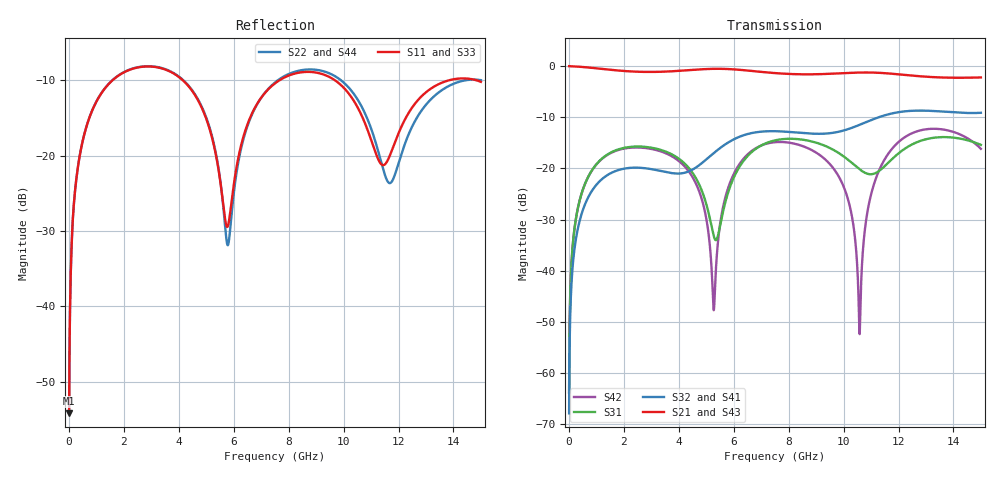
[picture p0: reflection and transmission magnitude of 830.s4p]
! Created with skrf 1.8.0 (http://scikit-rf.org).
# GHz S RI R 50.0
!freq ReS11 ImS11 ReS12 ImS12 ReS13 ImS13
! ReS14 ImS14
! ReS21 ImS21 ReS22 ImS22 ReS23 ImS23
! ReS24 ImS24
! ReS31 ImS31 ReS32 ImS32 ReS33 ImS33
! ReS34 ImS34
! ReS41 ImS41 ReS42 ImS42 ReS43 ImS43
! ReS44 ImS44
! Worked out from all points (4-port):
!   2499 points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, 5 MHz to 15 GHz, reference 50 ohm
!   strongest paths, dB at 5 MHz, 3.476 GHz, 7.19 GHz, 11.1 GHz, 15 GHz:
!     S21: 0.0, -1.1, -1.2, -1.3, -2.2
!     S43: 0.0, -1.1, -1.2, -1.3, -2.2
!     S32: -67.9, -20.7, -12.7, -10.4, -9.1
!     S41: -67.9, -20.8, -12.8, -10.3, -9.2
!     S31: -63.8, -16.6, -15.0, -21.0, -15.4
!     S42: -63.8, -16.9, -15.2, -23.2, -16.2
!   lowest |S11| = -54.2 dB at 5 MHz (marker M1), VSWR 1.00, Z = 50.2 + j0.118 ohm
!   |S11| at or under -10 dB: start of sweep to 1.587 GHz; 4.143 GHz to 7.667 GHz (3.524 GHz wide, 59.7 % of centre); 9.682 GHz to 13.85 GHz (4.166 GHz wide, 35.4 % of centre) (the widest 3 of 4)
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0.005  0.00155 0.00118  0.9984 -0.00303  7.87e-05 0.00064  -7.63e-05 -0.000398
       0.9984 -0.00303  0.00155 0.00118  -7.63e-05 -0.000398  7.86e-05 0.00064
       7.87e-05 0.00064  -7.63e-05 -0.000398  0.00155 0.00118  0.9984 -0.00303
       -7.63e-05 -0.000398  7.86e-05 0.00064  0.9984 -0.00303  0.00155 0.00118
1.519383  0.2462 0.1851  0.5969 -0.6997  0.1261 0.0671  -0.0886 -0.0142
          0.5969 -0.6997  0.2477 0.1843  -0.0888 -0.014  0.1208 0.0734
          0.1261 0.0671  -0.0888 -0.014  0.2461 0.1852  0.5968 -0.6998
          -0.0886 -0.0142  0.1208 0.0734  0.5968 -0.6998  0.2478 0.1842
5.270946  0.0605 -0.1015  -0.88 -0.3316  -0.019 -0.0109  -0.0473 0.133
          -0.88 -0.3316  0.0539 -0.1082  -0.0435 0.1343  0.00408 0.000524
          -0.019 -0.0109  -0.0435 0.1343  0.0622 -0.1015  -0.88 -0.3315
          -0.0473 0.133  0.00408 0.000524  -0.88 -0.3315  0.0528 -0.1093
9.035015  0.352 -0.042  0.0341 0.8324  0.1259 -0.1251  0.2058 -0.0635
          0.0341 0.8324  0.3664 -0.0527  0.2054 -0.0734  0.1298 -0.055
          0.1259 -0.1251  0.2054 -0.0734  0.3527 -0.0403  0.0349 0.8315
          0.2058 -0.0635  0.1298 -0.055  0.0349 0.8315  0.3698 -0.0547
10.57941  0.1539 -0.1239  0.6518 0.5687  -0.0681 -0.0709  0.1748 -0.2009
          0.6518 0.5687  0.1571 -0.1603  0.1636 -0.2105  0.0024 0.000398
          -0.0681 -0.0709  0.1636 -0.2105  0.1599 -0.1237  0.6513 0.5678
          0.1748 -0.2009  0.0024 0.000398  0.6513 0.5678  0.1571 -0.1651
11.73614  0.0973 0.041  0.842 0.052  -0.0317 0.1172  0.0186 -0.3432
          0.842 0.052  0.0665 0.000236  0.000664 -0.3435  0.0588 0.1406
          -0.0317 0.1172  0.000664 -0.3435  0.1024 0.0346  0.8419 0.0514
          0.0186 -0.3432  0.0588 0.1406  0.8419 0.0514  0.0641 -0.00117
15  0.3009 -0.0674  -0.0182 -0.7745  0.0943 -0.1415  -0.3427 0.0491
    -0.0182 -0.7745  0.3143 -0.0377  -0.3415 0.0755  0.118 -0.1014
    0.0943 -0.1415  -0.3415 0.0755  0.2992 -0.0637  -0.0217 -0.7738
    -0.3427 0.0491  0.118 -0.1014  -0.0217 -0.7738  0.3188 -0.0436
